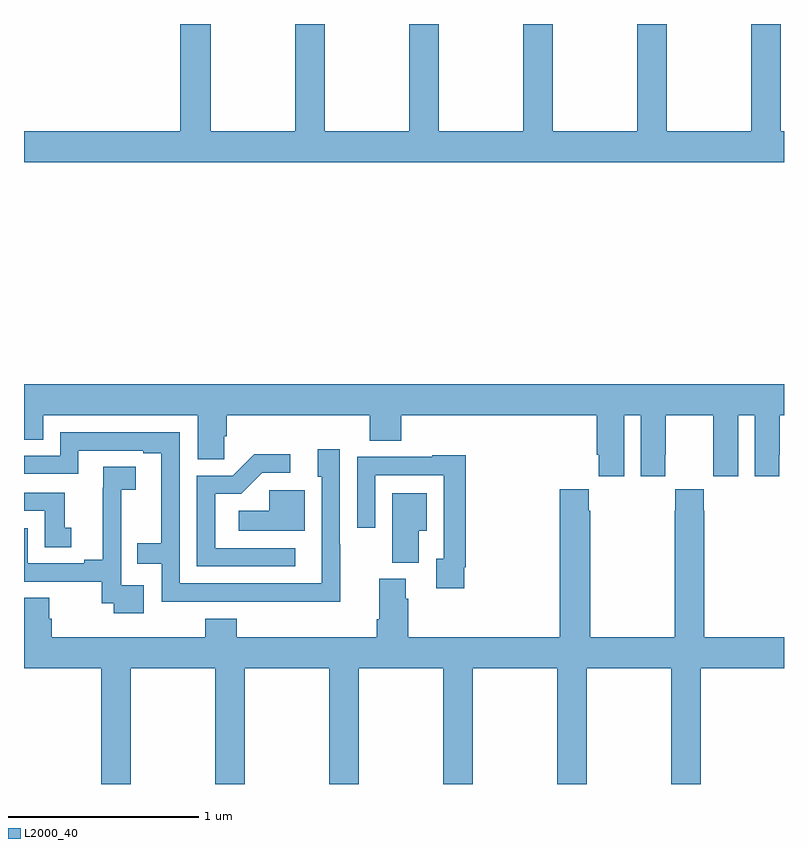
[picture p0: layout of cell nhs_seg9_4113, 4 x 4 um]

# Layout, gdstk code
import gdstk
lib = gdstk.Library(unit=1e-6, precision=1e-09)
def P(c, l, *ps):  # polygons
    for p in ps: c.add(gdstk.Polygon(p, *l))
L2000_40 = (2000, 40)

nhs_seg9_4113 = lib.new_cell('nhs_seg9_4113')
P(nhs_seg9_4113, L2000_40, [(351,1177.936),(350.982,1177.936),(350.982,1178.5),(350.827,1178.5),(350.827,1177.936),(350.382,1177.936),(350.382,1178.5),(350.227,1178.5),(350.227,1177.936),(349.782,1177.936),(349.782,1178.5),(349.627,1178.5),(349.627,1177.936),(349.182,1177.936),(349.182,1178.5),(349.027,1178.5),(349.027,1177.936),(348.582,1177.936),(348.582,1178.5),(348.427,1178.5),(348.427,1177.936),(347.982,1177.936),(347.982,1178.5),(347.822,1178.5),(347.822,1177.936),(347,1177.936),(347,1177.772),(351,1177.772)],
  [(350.158,1176.44),(350.246,1176.44),(350.246,1176.12),(350.376,1176.12),(350.376,1176.232),(350.377,1176.232),(350.377,1176.44),(350.627,1176.44),(350.627,1176.232),(350.628,1176.232),(350.628,1176.12),(350.758,1176.12),(350.758,1176.44),(350.846,1176.44),(350.846,1176.12),(350.976,1176.12),(350.976,1176.232),(350.977,1176.232),(350.977,1176.44),(351,1176.44),(351,1176.604),(347,1176.604),(347,1176.313),(347.101,1176.313),(347.101,1176.44),(347.915,1176.44),(347.915,1176.208),(348.054,1176.208),(348.054,1176.331),(348.068,1176.331),(348.068,1176.44),(348.821,1176.44),(348.821,1176.307),(348.986,1176.307),(348.986,1176.44),(350.015,1176.44),(350.015,1176.232),(350.024,1176.232),(350.024,1176.12),(350.158,1176.12)],
  [(348.665,1175.762),(348.663,1175.762),(348.663,1176.262),(348.545,1176.262),(348.545,1176.117),(348.567,1176.117),(348.567,1175.556),(347.82,1175.556),(347.82,1176.351),(347.19,1176.351),(347.19,1176.228),(347,1176.228),(347,1176.132),(347.286,1176.132),(347.286,1176.255),(347.627,1176.255),(347.627,1176.24),(347.723,1176.24),(347.723,1175.767),(347.596,1175.767),(347.596,1175.658),(347.724,1175.658),(347.724,1175.46),(348.202,1175.46),(348.202,1175.459),(348.665,1175.459)],
  [(348.427,1175.742),(348.006,1175.742),(348.006,1176.027),(348.144,1176.027),(348.255,1176.138),(348.4,1176.138),(348.4,1176.236),(348.212,1176.236),(348.099,1176.123),(347.91,1176.123),(347.91,1175.646),(348.427,1175.646)],
  [(349.318,1175.641),(349.325,1175.641),(349.325,1176.229),(349.149,1176.229),(349.149,1176.222),(348.753,1176.222),(348.753,1175.85),(348.849,1175.85),(348.849,1176.126),(349.209,1176.126),(349.209,1175.685),(349.169,1175.685),(349.169,1175.529),(349.318,1175.529)],
  [(347.629,1175.547),(347.511,1175.547),(347.511,1175.851),(347.513,1175.851),(347.513,1176.049),(347.587,1176.049),(347.587,1176.17),(347.416,1176.17),(347.416,1176.059),(347.414,1176.059),(347.414,1175.681),(347.318,1175.681),(347.318,1175.661),(347.019,1175.661),(347.019,1175.847),(347,1175.847),(347,1175.565),(347.41,1175.565),(347.41,1175.451),(347.473,1175.451),(347.473,1175.4),(347.629,1175.4)],
  [(347.562,1175.108),(348.007,1175.108),(348.007,1174.5),(348.162,1174.5),(348.162,1175.108),(348.607,1175.108),(348.607,1174.5),(348.762,1174.5),(348.762,1175.108),(349.207,1175.108),(349.207,1174.5),(349.362,1174.5),(349.362,1175.108),(349.807,1175.108),(349.807,1174.5),(349.962,1174.5),(349.962,1175.108),(350.407,1175.108),(350.407,1174.5),(350.562,1174.5),(350.562,1175.108),(351,1175.108),(351,1175.272),(350.58,1175.272),(350.58,1175.939),(350.577,1175.939),(350.577,1176.052),(350.427,1176.052),(350.427,1175.939),(350.425,1175.939),(350.425,1175.272),(349.98,1175.272),(349.98,1175.939),(349.973,1175.939),(349.973,1176.052),(349.82,1176.052),(349.82,1175.272),(349.022,1175.272),(349.022,1175.474),(349.009,1175.474),(349.009,1175.58),(348.869,1175.58),(348.869,1175.368),(348.857,1175.368),(348.857,1175.272),(348.119,1175.272),(348.119,1175.371),(347.954,1175.371),(347.954,1175.272),(347.147,1175.272),(347.147,1175.37),(347.134,1175.37),(347.134,1175.48),(347,1175.48),(347,1175.108),(347.407,1175.108),(347.407,1174.5),(347.562,1174.5)],
  [(348.478,1176.045),(348.291,1176.045),(348.291,1175.938),(348.129,1175.938),(348.129,1175.834),(348.478,1175.834)],
  [(347.248,1175.85),(347.215,1175.85),(347.215,1176.033),(347,1176.033),(347,1175.937),(347.108,1175.937),(347.108,1175.746),(347.248,1175.746)],
  [(349.078,1175.834),(349.12,1175.834),(349.12,1176.031),(348.938,1176.031),(348.938,1175.665),(349.078,1175.665)])

lib.write_gds('nhs_seg9_4113.gds')
